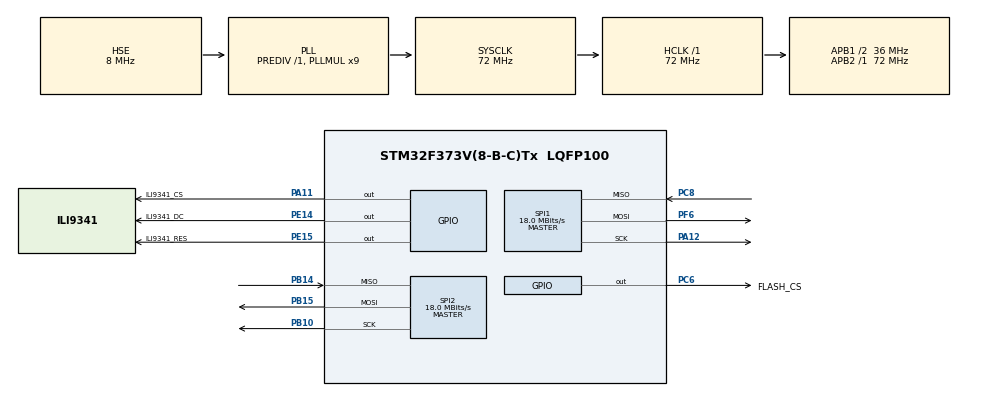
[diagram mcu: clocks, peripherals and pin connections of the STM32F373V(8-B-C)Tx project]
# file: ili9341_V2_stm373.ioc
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Mcu.Family=STM32F3
Mcu.Name=STM32F373V(8-B-C)Tx
Mcu.Package=LQFP100
NVIC.PriorityGroup=NVIC_PRIORITYGROUP_4
PA11.GPIO_Label=ILI9341_CS
PA11.Signal=GPIO_Output
PA12.Mode=Full_Duplex_Master
PA12.Signal=SPI1_SCK
PB10.Mode=Full_Duplex_Master
PB10.Signal=SPI2_SCK
PB14.Mode=Full_Duplex_Master
PB14.Signal=SPI2_MISO
PB15.Mode=Full_Duplex_Master
PB15.Signal=SPI2_MOSI
PC6.GPIO_Label=FLASH_CS
PC6.Signal=GPIO_Output
PC8.Mode=Full_Duplex_Master
PC8.Signal=SPI1_MISO
PE14.GPIO_Label=ILI9341_DC
PE14.Signal=GPIO_Output
PE15.GPIO_Label=ILI9341_RES
PE15.Signal=GPIO_Output
PF0-OSC_IN.Mode=HSE-External-Oscillator
PF0-OSC_IN.Signal=RCC_OSC_IN
PF1-OSC_OUT.Mode=HSE-External-Oscillator
PF1-OSC_OUT.Signal=RCC_OSC_OUT
PF6.Mode=Full_Duplex_Master
PF6.Signal=SPI1_MOSI
ProjectManager.HeapSize=0x200
ProjectManager.StackSize=0x400
ProjectManager.TargetToolchain=MDK-ARM V5
RCC.AHBFreq_Value=72000000
RCC.APB1CLKDivider=RCC_HCLK_DIV2
RCC.APB1Freq_Value=36000000
RCC.APB1TimFreq_Value=72000000
RCC.APB2Freq_Value=72000000
RCC.APB2TimFreq_Value=72000000
RCC.CortexFreq_Value=72000000
RCC.HCLKFreq_Value=72000000
RCC.HSE_VALUE=8000000
RCC.HSI_VALUE=8000000
RCC.LSE_VALUE=32768
RCC.PLLMUL=RCC_PLL_MUL9
RCC.PLLSourceVirtual=RCC_PLLSOURCE_HSE
RCC.SYSCLKFreq_VALUE=72000000
RCC.SYSCLKSource=RCC_SYSCLKSOURCE_PLLCLK
RCC.USBFreq_Value=72000000
SPI1.BaudRatePrescaler=SPI_BAUDRATEPRESCALER_4
SPI1.CalculateBaudRate=18.0 MBits/s
SPI1.DataSize=SPI_DATASIZE_8BIT
SPI1.Direction=SPI_DIRECTION_2LINES
SPI1.Mode=SPI_MODE_MASTER
SPI1.VirtualType=VM_MASTER
SPI2.CalculateBaudRate=18.0 MBits/s
SPI2.DataSize=SPI_DATASIZE_8BIT
SPI2.Direction=SPI_DIRECTION_2LINES
SPI2.Mode=SPI_MODE_MASTER
SPI2.VirtualType=VM_MASTER
board=custom

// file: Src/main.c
/* USER CODE BEGIN Header */
/**
  ******************************************************************************
  * @file           : main.c
  * @brief          : Main program body
  ******************************************************************************
  ** This notice applies to any and all portions of this file
  * that are not between comment pairs USER CODE BEGIN and
  * USER CODE END. Other portions of this file, whether
  * inserted by the user or by software development tools
  * are owned by their respective copyright owners.
  *
  * COPYRIGHT(c) 2019 STMicroelectronics
  *
  * Redistribution and use in source and binary forms, with or without modification,
  * are permitted provided that the following conditions are met:
  *   1. Redistributions of source code must retain the above copyright notice,
  *      this list of conditions and the following disclaimer.
  *   2. Redistributions in binary form must reproduce the above copyright notice,
  *      this list of conditions and the following disclaimer in the documentation
  *      and/or other materials provided with the distribution.
  *   3. Neither the name of STMicroelectronics nor the names of its contributors
  *      may be used to endorse or promote products derived from this software
  *      without specific prior written permission.
  *
  * THIS SOFTWARE IS PROVIDED BY THE COPYRIGHT HOLDERS AND CONTRIBUTORS "AS IS"
  * AND ANY EXPRESS OR IMPLIED WARRANTIES, INCLUDING, BUT NOT LIMITED TO, THE
  * IMPLIED WARRANTIES OF MERCHANTABILITY AND FITNESS FOR A PARTICULAR PURPOSE ARE
  * DISCLAIMED. IN NO EVENT SHALL THE COPYRIGHT HOLDER OR CONTRIBUTORS BE LIABLE
  * FOR ANY DIRECT, INDIRECT, INCIDENTAL, SPECIAL, EXEMPLARY, OR CONSEQUENTIAL
  * DAMAGES (INCLUDING, BUT NOT LIMITED TO, PROCUREMENT OF SUBSTITUTE GOODS OR
  * SERVICES; LOSS OF USE, DATA, OR PROFITS; OR BUSINESS INTERRUPTION) HOWEVER
  * CAUSED AND ON ANY THEORY OF LIABILITY, WHETHER IN CONTRACT, STRICT LIABILITY,
  * OR TORT (INCLUDING NEGLIGENCE OR OTHERWISE) ARISING IN ANY WAY OUT OF THE USE
  * OF THIS SOFTWARE, EVEN IF ADVISED OF THE POSSIBILITY OF SUCH DAMAGE.
  *
  ******************************************************************************
  */
/* USER CODE END Header */

#include "main.h"

/* USER CODE BEGIN Includes */
#include "ili9341.h"
#include "fonts.h"
#include "testimg.h"

#include <stdio.h>
#include <stdlib.h>
#include <string.h>
/* USER CODE END Includes */

/* USER CODE BEGIN PD */
#define SCREENCOOR_X 240
#define SCREENCOOR_Y 320

#define EEPROMBLOCKNUMBER 256

/* USER CODE END PD */

SPI_HandleTypeDef hspi1;
SPI_HandleTypeDef hspi2;

/* USER CODE BEGIN PV */
int count = 0;
/* USER CODE END PV */

void SystemClock_Config(void);
static void MX_GPIO_Init(void);
static void MX_SPI2_Init(void);
static void MX_SPI1_Init(void);
/* USER CODE BEGIN PFP */
int i2a(char *s, int n);
char* my_itoa(char *output_buff, int num);
void CalScreen1(void);
void CalScreen2(void);
void CalScreen3(void);
void CalScreen4(void);
/* USER CODE END PFP */

/* USER CODE BEGIN 0 */
uint32_t	id;

 uint16_t ImageBuffer1[4950];
uint32_t READ_ADRESS = 0x20000080;
char sayi = 80;
char patientCntVal[2];
///metin[] = "Merhaba C." ;
int a , l ;
/* USER CODE END 0 */

int main(void)
{
  /* USER CODE BEGIN 1 */
patientCntVal[0]=80;
patientCntVal[1]=81;
	    int number = -254;
    char string[12];
	my_itoa(string, number);
  /* USER CODE END 1 */

  /* MCU Configuration--------------------------------------------------------*/

  /* Reset of all peripherals, Initializes the Flash interface and the Systick. */
  HAL_Init();

  /* Configure the system clock */
  SystemClock_Config();

  /* Initialize all configured peripherals */
  MX_GPIO_Init();
  MX_SPI2_Init();
  MX_SPI1_Init();
  /* USER CODE BEGIN 2 */

			W25qxx_Init();
			ILI9341_Unselect();
			ILI9341_Init();

			//ILI9341_WriteString(15,15,"brk",Font_11x18,ILI9341_BLACK,ILI9341_BLUE);
			//ILI9341_DrawImage(0, 0, 240, 65, (const uint16_t*)image_data_aymedLogo);
			for(count = 1; count <= EEPROMBLOCKNUMBER; count++)
			{
				W25qxx_EraseBlock(count);
			}
			W25qxx_EraseChip();
			//ILI9341_FillScreen(ILI9341_BLUE);

//			W25qxx_EraseBlock(1);
//			W25qxx_EraseBlock(2);
//			W25qxx_EraseBlock(3);
//			W25qxx_EraseBlock(4);
//			W25qxx_EraseBlock(5);
//			W25qxx_EraseBlock(6);
//			W25qxx_WriteBlock((uint8_t *)main_screen1,1,0,12000);
//			W25qxx_WriteBlock((uint8_t *)main_screen2,2,0,12000);
//			W25qxx_WriteBlock((uint8_t *)main_screen3,3,0,12000);
//			W25qxx_WriteBlock((uint8_t *)main_screen4,4,0,12000);
//			W25qxx_WriteBlock((uint8_t *)main_screen5,5,0,12000);
//			W25qxx_WriteBlock((uint8_t *)main_screen6,6,0,12000);
////
//			W25qxx_EraseBlock(7);
//			W25qxx_EraseBlock(8);
//			W25qxx_EraseBlock(9);
//			W25qxx_EraseBlock(10);
//			W25qxx_EraseBlock(11);
//			W25qxx_EraseBlock(12);
//			W25qxx_WriteBlock((uint8_t *)test_screen1,7,0,12000);
//			W25qxx_WriteBlock((uint8_t *)test_screen2,8,0,12000);
//			W25qxx_WriteBlock((uint8_t *)test_screen3,9,0,12000);
//			W25qxx_WriteBlock((uint8_t *)test_screen4,10,0,12000);
//			W25qxx_WriteBlock((uint8_t *)test_screen5,11,0,12000);
//			W25qxx_WriteBlock((uint8_t *)test_screen6,12,0,12000);

//			W25qxx_EraseBlock(13);
//			W25qxx_EraseBlock(14);
//			W25qxx_EraseBlock(15);
//			W25qxx_EraseBlock(16);
//			W25qxx_WriteBlock((uint8_t *)result_screen1,13,0,12000);
//			W25qxx_WriteBlock((uint8_t *)result_screen2,14,0,12000);
//			W25qxx_WriteBlock((uint8_t *)result_screen3,15,0,12000);
//			W25qxx_WriteBlock((uint8_t *)result_screen4,16,0,12000);

//			W25qxx_EraseBlock(17);
//			W25qxx_EraseBlock(18);
//			W25qxx_EraseBlock(19);
//			W25qxx_EraseBlock(20);
//			W25qxx_EraseBlock(21);
//			W25qxx_WriteBlock((uint8_t *)result_screen5,17,0,12000);
//			W25qxx_WriteBlock((uint8_t *)result_screen6,18,0,12000);
//			W25qxx_WriteBlock((uint8_t *)result_screen7,19,0,12000);
//			W25qxx_WriteBlock((uint8_t *)result_screen8,20,0,12000);
//			W25qxx_WriteBlock((uint8_t *)result_screen9,21,0,12000);

//			W25qxx_EraseBlock(22);
//			W25qxx_EraseBlock(23);
//			W25qxx_EraseBlock(24);
//			W25qxx_EraseBlock(25);

//			W25qxx_WriteBlock((uint8_t *)set_screen1,22,0,12000);
//			W25qxx_WriteBlock((uint8_t *)set_screen2,23,0,12000);
//			W25qxx_WriteBlock((uint8_t *)set_screen3,24,0,12000);
//			W25qxx_WriteBlock((uint8_t *)set_screen4,25,0,12000);

//			W25qxx_EraseBlock(26);
//			W25qxx_EraseBlock(27);
//			W25qxx_EraseBlock(28);
//			W25qxx_EraseBlock(29);
//			W25qxx_EraseBlock(28);
//			W25qxx_EraseBlock(29);
//			W25qxx_EraseBlock(30);
//			W25qxx_EraseBlock(31);
//			W25qxx_WriteBlock((uint8_t *)set_screen5,26,0,12000);
//			W25qxx_WriteBlock((uint8_t *)set_screen6,27,0,12000);
//			W25qxx_WriteBlock((uint8_t *)set_screen7,28,0,12000);
//			W25qxx_WriteBlock((uint8_t *)set_screen8,29,0,12000);
//			W25qxx_WriteBlock((uint8_t *)set_screen9,30,0,12000);
//			W25qxx_WriteBlock((uint8_t *)set_screen10,31,0,12000);

//			W25qxx_EraseBlock(32);
//			W25qxx_EraseBlock(33);
//			W25qxx_EraseBlock(34);
//			W25qxx_EraseBlock(35);
//			W25qxx_EraseBlock(36);
//			W25qxx_EraseBlock(37);
//			W25qxx_EraseBlock(38);
//			W25qxx_WriteBlock((uint8_t *)set_date1,32,0,12000);
//			W25qxx_WriteBlock((uint8_t *)set_date2,33,0,12000);
//			W25qxx_WriteBlock((uint8_t *)set_date3,34,0,12000);
//			W25qxx_WriteBlock((uint8_t *)set_date4,35,0,12000);
//			W25qxx_WriteBlock((uint8_t *)set_date5,36,0,12000);
//			W25qxx_WriteBlock((uint8_t *)set_date6,37,0,12000);
//			W25qxx_WriteBlock((uint8_t *)set_date7,38,0,12000);

//			W25qxx_EraseBlock(39);
//			W25qxx_EraseBlock(40);
//			W25qxx_EraseBlock(41);
//			W25qxx_EraseBlock(42);
//			W25qxx_EraseBlock(43);
//			W25qxx_WriteBlock((uint8_t *)set_hour1,39,0,12000);
//			W25qxx_WriteBlock((uint8_t *)set_hour2,40,0,12000);
//			W25qxx_WriteBlock((uint8_t *)set_hour3,41,0,12000);
//			W25qxx_WriteBlock((uint8_t *)set_hour4,42,0,12000);
//			W25qxx_WriteBlock((uint8_t *)set_hour5,43,0,12000);

//			W25qxx_EraseBlock(44);
//			W25qxx_EraseBlock(45);
//			W25qxx_EraseBlock(46);
//			W25qxx_EraseBlock(47);
//			W25qxx_WriteBlock((uint8_t *)set_back_buttons1,44,0,12000);
//			W25qxx_WriteBlock((uint8_t *)set_back_buttons2,45,0,12000);
//			W25qxx_WriteBlock((uint8_t *)apply_back_but1,46,0,12000);
//			W25qxx_WriteBlock((uint8_t *)apply_back_but2,47,0,12000);

//////////////////////////////////////////////////////////////////////////////////////////////////////////////////
//			W25qxx_EraseBlock(48);
//			W25qxx_EraseBlock(49);
//			W25qxx_EraseBlock(50);
//			W25qxx_EraseBlock(51);

//			W25qxx_WriteBlock((uint8_t *)caribration1,48,0,12000);
//			W25qxx_WriteBlock((uint8_t *)caribration2,49,0,12000);
//			W25qxx_WriteBlock((uint8_t *)caribration3,50,0,12000);
//			W25qxx_WriteBlock((uint8_t *)caribration4,51,0,12000);

//			W25qxx_EraseBlock(52);
//			W25qxx_EraseBlock(53);
//			W25qxx_EraseBlock(54);
//			W25qxx_EraseBlock(55);
//			W25qxx_WriteBlock((uint8_t *)caribration5,52,0,12000);
//			W25qxx_WriteBlock((uint8_t *)caribration6,53,0,12000);
//			W25qxx_WriteBlock((uint8_t *)caribration7,54,0,12000);
//			W25qxx_WriteBlock((uint8_t *)caribration8,55,0,12000);

//			W25qxx_EraseBlock(56);
//			W25qxx_EraseBlock(57);
//			W25qxx_EraseBlock(58);
//			W25qxx_EraseBlock(59);
//			W25qxx_WriteBlock((uint8_t *)calibration22,56,0,12000);
//			W25qxx_WriteBlock((uint8_t *)calibration23,57,0,12000);
//			W25qxx_WriteBlock((uint8_t *)calibration24,58,0,12000);
//			W25qxx_WriteBlock((uint8_t *)calibration25,59,0,12000);

//			W25qxx_EraseBlock(60);
//			W25qxx_EraseBlock(61);
//			W25qxx_EraseBlock(62);
//			W25qxx_EraseBlock(63);
//			W25qxx_WriteBlock((uint8_t *)calibration32,60,0,12000);
//			W25qxx_WriteBlock((uint8_t *)calibration33,61,0,12000);
//			W25qxx_WriteBlock((uint8_t *)calibration34,62,0,12000);
//			W25qxx_WriteBlock((uint8_t *)calibration35,63,0,12000);

//			W25qxx_EraseBlock(64);
//			W25qxx_EraseBlock(65);
//			W25qxx_EraseBlock(66);
//			W25qxx_EraseBlock(67);
//			W25qxx_WriteBlock((uint8_t *)calComplated2,64,0,12000);
//			W25qxx_WriteBlock((uint8_t *)calComplated3,65,0,12000);
//			W25qxx_WriteBlock((uint8_t *)calComplated4,66,0,12000);
//			W25qxx_WriteBlock((uint8_t *)calComplated5,67,0,12000);

/*
			W25qxx_EraseBlock(68);
			W25qxx_EraseBlock(69);
			W25qxx_EraseBlock(70);
			W25qxx_EraseBlock(71);
			W25qxx_EraseBlock(72);
			W25qxx_EraseBlock(73);
			W25qxx_WriteBlock((uint8_t *)image_data_grafik1,68,0,12000);
			W25qxx_WriteBlock((uint8_t *)image_data_grafik2,69,0,12000);
			W25qxx_WriteBlock((uint8_t *)image_data_grafik3,70,0,12000);
			W25qxx_WriteBlock((uint8_t *)image_data_grafik4,71,0,12000);
			W25qxx_WriteBlock((uint8_t *)image_data_grafik5,72,0,12000);
			W25qxx_WriteBlock((uint8_t *)image_data_grafik6,73,0,10560);
*/

CalScreen1();
HAL_Delay(1000);
CalScreen2();
HAL_Delay(1000);
CalScreen3();
HAL_Delay(1000);
CalScreen4();
//mainScreen();
//HAL_Delay(1000);
//ILI9341_FillScreen(ILI9341_BLUE);
//testScreen();
//HAL_Delay(1000);
//ILI9341_FillScreen(ILI9341_BLUE);
//resultScreen ();
//HAL_Delay(1000);
//ILI9341_FillScreen(ILI9341_BLUE);
//settingScreen ();
//HAL_Delay(1000);
//ILI9341_FillScreen(ILI9341_BLUE);
//setDateScreen ();
//HAL_Delay(1000);
//ILI9341_FillScreen(ILI9341_BLUE);
//setHourScreen ();

//			ILI9341_DrawImage(125, 100, 110, 135, (const uint16_t*)image_data_memory_button);
//			ILI9341_DrawImage(187, 250, 48, 60, (const uint16_t*)image_data_settings_button);
//			ILI9341_DrawImage(5, 100, 110, 135, (const uint16_t*)image_data_new_test_button);
//			ILI9341_DrawImage(125, 100, 110, 135, (const uint16_t*)image_data_reTest_button);

//ILI9341_WriteString(120, 120,"Tdd", Ubuntu, ILI9341_WHITE, ILI9341_BLUE);
  /* USER CODE END 2 */

  /* Infinite loop */
  while (1)
  {

  }
}

void SystemClock_Config(void)
{
  RCC_OscInitTypeDef RCC_OscInitStruct = {0};
  RCC_ClkInitTypeDef RCC_ClkInitStruct = {0};

  /**Initializes the CPU, AHB and APB busses clocks
  */
  RCC_OscInitStruct.OscillatorType = RCC_OSCILLATORTYPE_HSE;
  RCC_OscInitStruct.HSEState = RCC_HSE_ON;
  RCC_OscInitStruct.HSEPredivValue = RCC_HSE_PREDIV_DIV1;
  RCC_OscInitStruct.HSIState = RCC_HSI_ON;
  RCC_OscInitStruct.PLL.PLLState = RCC_PLL_ON;
  RCC_OscInitStruct.PLL.PLLSource = RCC_PLLSOURCE_HSE;
  RCC_OscInitStruct.PLL.PLLMUL = RCC_PLL_MUL9;
  if (HAL_RCC_OscConfig(&RCC_OscInitStruct) != HAL_OK)
  {
    Error_Handler();
  }
  /**Initializes the CPU, AHB and APB busses clocks
  */
  RCC_ClkInitStruct.ClockType = RCC_CLOCKTYPE_HCLK|RCC_CLOCKTYPE_SYSCLK
                              |RCC_CLOCKTYPE_PCLK1|RCC_CLOCKTYPE_PCLK2;
  RCC_ClkInitStruct.SYSCLKSource = RCC_SYSCLKSOURCE_PLLCLK;
  RCC_ClkInitStruct.AHBCLKDivider = RCC_SYSCLK_DIV1;
  RCC_ClkInitStruct.APB1CLKDivider = RCC_HCLK_DIV2;
  RCC_ClkInitStruct.APB2CLKDivider = RCC_HCLK_DIV1;

  if (HAL_RCC_ClockConfig(&RCC_ClkInitStruct, FLASH_LATENCY_2) != HAL_OK)
  {
    Error_Handler();
  }
}

static void MX_SPI1_Init(void)
{

  /* SPI1 parameter configuration*/
  hspi1.Instance = SPI1;
  hspi1.Init.Mode = SPI_MODE_MASTER;
  hspi1.Init.Direction = SPI_DIRECTION_2LINES;
  hspi1.Init.DataSize = SPI_DATASIZE_8BIT;
  hspi1.Init.CLKPolarity = SPI_POLARITY_LOW;
  hspi1.Init.CLKPhase = SPI_PHASE_1EDGE;
  hspi1.Init.NSS = SPI_NSS_SOFT;
  hspi1.Init.BaudRatePrescaler = SPI_BAUDRATEPRESCALER_4;
  hspi1.Init.FirstBit = SPI_FIRSTBIT_MSB;
  hspi1.Init.TIMode = SPI_TIMODE_DISABLE;
  hspi1.Init.CRCCalculation = SPI_CRCCALCULATION_DISABLE;
  hspi1.Init.CRCPolynomial = 7;
  hspi1.Init.CRCLength = SPI_CRC_LENGTH_DATASIZE;
  hspi1.Init.NSSPMode = SPI_NSS_PULSE_ENABLE;
  if (HAL_SPI_Init(&hspi1) != HAL_OK)
  {
    Error_Handler();
  }

}

static void MX_SPI2_Init(void)
{

  /* SPI2 parameter configuration*/
  hspi2.Instance = SPI2;
  hspi2.Init.Mode = SPI_MODE_MASTER;
  hspi2.Init.Direction = SPI_DIRECTION_2LINES;
  hspi2.Init.DataSize = SPI_DATASIZE_8BIT;
  hspi2.Init.CLKPolarity = SPI_POLARITY_LOW;
  hspi2.Init.CLKPhase = SPI_PHASE_1EDGE;
  hspi2.Init.NSS = SPI_NSS_SOFT;
  hspi2.Init.BaudRatePrescaler = SPI_BAUDRATEPRESCALER_2;
  hspi2.Init.FirstBit = SPI_FIRSTBIT_MSB;
  hspi2.Init.TIMode = SPI_TIMODE_DISABLE;
  hspi2.Init.CRCCalculation = SPI_CRCCALCULATION_DISABLE;
  hspi2.Init.CRCPolynomial = 7;
  hspi2.Init.CRCLength = SPI_CRC_LENGTH_DATASIZE;
  hspi2.Init.NSSPMode = SPI_NSS_PULSE_ENABLE;
  if (HAL_SPI_Init(&hspi2) != HAL_OK)
  {
    Error_Handler();
  }

}

static void MX_GPIO_Init(void)
{
  GPIO_InitTypeDef GPIO_InitStruct = {0};

  /* GPIO Ports Clock Enable */
  __HAL_RCC_GPIOF_CLK_ENABLE();
  __HAL_RCC_GPIOE_CLK_ENABLE();
  __HAL_RCC_GPIOB_CLK_ENABLE();
  __HAL_RCC_GPIOC_CLK_ENABLE();
  __HAL_RCC_GPIOA_CLK_ENABLE();

  /*Configure GPIO pin Output Level */
  HAL_GPIO_WritePin(GPIOE, ILI9341_DC_Pin|ILI9341_RES_Pin, GPIO_PIN_RESET);

  /*Configure GPIO pin Output Level */
  HAL_GPIO_WritePin(FLASH_CS_GPIO_Port, FLASH_CS_Pin, GPIO_PIN_RESET);

  /*Configure GPIO pin Output Level */
  HAL_GPIO_WritePin(ILI9341_CS_GPIO_Port, ILI9341_CS_Pin, GPIO_PIN_RESET);

  /*Configure GPIO pins : ILI9341_DC_Pin ILI9341_RES_Pin */
  GPIO_InitStruct.Pin = ILI9341_DC_Pin|ILI9341_RES_Pin;
  GPIO_InitStruct.Mode = GPIO_MODE_OUTPUT_PP;
  GPIO_InitStruct.Pull = GPIO_NOPULL;
  GPIO_InitStruct.Speed = GPIO_SPEED_FREQ_LOW;
  HAL_GPIO_Init(GPIOE, &GPIO_InitStruct);

  /*Configure GPIO pin : FLASH_CS_Pin */
  GPIO_InitStruct.Pin = FLASH_CS_Pin;
  GPIO_InitStruct.Mode = GPIO_MODE_OUTPUT_PP;
  GPIO_InitStruct.Pull = GPIO_NOPULL;
  GPIO_InitStruct.Speed = GPIO_SPEED_FREQ_LOW;
  HAL_GPIO_Init(FLASH_CS_GPIO_Port, &GPIO_InitStruct);

  /*Configure GPIO pin : ILI9341_CS_Pin */
  GPIO_InitStruct.Pin = ILI9341_CS_Pin;
  GPIO_InitStruct.Mode = GPIO_MODE_OUTPUT_PP;
  GPIO_InitStruct.Pull = GPIO_NOPULL;
  GPIO_InitStruct.Speed = GPIO_SPEED_FREQ_LOW;
  HAL_GPIO_Init(ILI9341_CS_GPIO_Port, &GPIO_InitStruct);

}

/* USER CODE BEGIN 4 */
int i2a(char *s, int n){
    div_t qr;
    int pos;

    if(n == 0) return 0;

    qr = div(n, 10);
    pos = i2a(s, qr.quot);
    s[pos] = qr.rem + '0';
    return pos + 1;
}

char* my_itoa(char *output_buff, int num){
    char *p = output_buff;
    if(num < 0){
        *p++ = '-';
        num *= -1;
    } else if(num == 0)
        *p++ = '0';
    p[i2a(p, num)]='\0';
    return output_buff;
}
/* USER CODE END 4 */

void Error_Handler(void)
{
}

/************************ (C) COPYRIGHT STMicroelectronics *****END OF FILE****/
